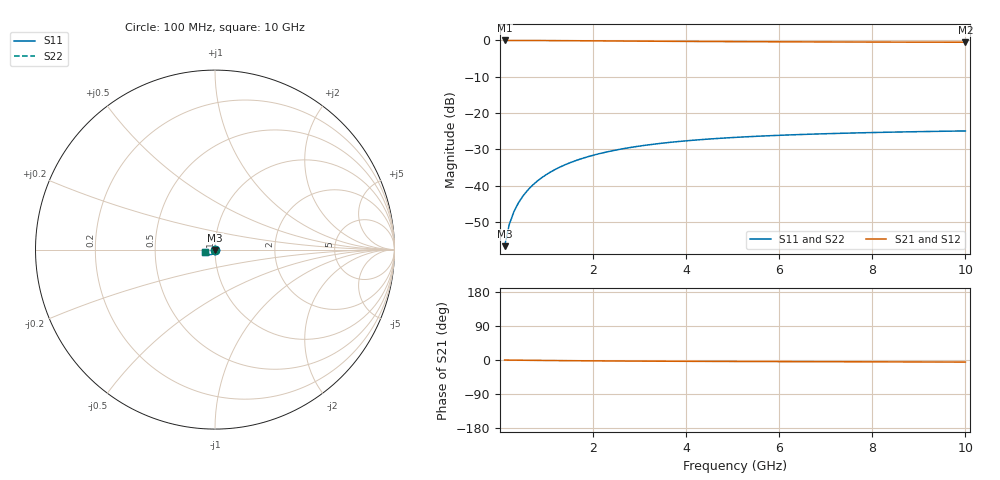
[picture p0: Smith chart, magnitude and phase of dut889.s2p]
! Touchstone file exported from HFSS 2024.1.0
!  File:  C:/UserFiles/LocalFiles/RDL_TSV_Batchsim/temp_TSV1_889_1779884748.aedt
!  Generated:  08:31:20 PM May 27, 2026
!  Design:  TSV1
!  Project:  temp_TSV1_889_1779884748
!  Setup:  Setup1
!  Solution:  Sweep
! Variables:
!  dtsv = 10.59um
!  hbump = 3um
!  htsv = 86.41um
!  lrdl = 252.1521522um
!  p = 40
!  p1 = 41.63um
!  t = 500um
!  trdl = 3um
!  wrdl = 24.89489489um
# GHz S MA R 50.000000
! Terminal data exported
! Port[1] = TSV22_T1
! Port[2] = TSV22_T2
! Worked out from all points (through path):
!   100 points, 100 MHz to 10 GHz, reference 50 ohm
!   highest |S21| = 0.00 dB at 100 MHz (marker M1); lowest = -0.5 dB at 10 GHz (marker M2)
!   lowest |S11| = -56.7 dB at 100 MHz (marker M3), VSWR 1.00, Z = 50 - j0.145 ohm
!   |S11| at or under -10 dB: start of sweep to end of sweep
!   |S22| runs from -56.7 to -25.0 dB; largest |S21 - S12| = 4.5e-15
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0.1  0.001457 -86.0  0.9998 -0.1  0.9998 -0.1  0.001457 -86.0
! Gamma 0 0 0 0
! Port Impedance 50 0 50 0
0.2  0.002906 -90.1  0.9997 -0.3  0.9997 -0.3  0.002906 -90.1
0.3  0.004357 -92.4  0.9995 -0.4  0.9995 -0.4  0.004357 -92.4
0.4  0.005804 -94.3  0.9992 -0.5  0.9992 -0.5  0.005804 -94.3
0.5  0.007244 -96.1  0.9988 -0.6  0.9988 -0.6  0.007244 -96.1
0.6  0.008671 -97.7  0.9984 -0.8  0.9984 -0.8  0.008671 -97.7
0.7  0.01008 -99.4  0.9979 -0.9  0.9979 -0.9  0.01008 -99.4
0.8  0.01148 -100.9  0.9974 -1.0  0.9974 -1.0  0.01148 -100.9
0.9  0.01285 -102.5  0.9968 -1.1  0.9968 -1.1  0.01285 -102.5
1.1  0.01552 -105.4  0.9954 -1.4  0.9954 -1.4  0.01552 -105.4
1.4  0.01932 -109.7  0.9931 -1.7  0.9931 -1.7  0.01932 -109.7
1.6  0.0217 -112.4  0.9914 -1.9  0.9914 -1.9  0.0217 -112.4
1.8  0.02397 -115.0  0.9896 -2.1  0.9896 -2.1  0.02397 -115.0
2.1  0.02712 -118.6  0.9868 -2.3  0.9868 -2.3  0.02712 -118.6
2.5  0.03089 -123.1  0.9829 -2.6  0.9829 -2.6  0.03089 -123.1
2.9  0.0342 -127.2  0.9792 -2.9  0.9792 -2.9  0.0342 -127.2
3.4  0.03775 -131.8  0.9748 -3.2  0.9748 -3.2  0.03775 -131.8
4.2  0.04232 -138.1  0.9685 -3.5  0.9685 -3.5  0.04232 -138.1
5.1  0.04623 -143.9  0.9627 -3.9  0.9627 -3.9  0.04623 -143.9
6.7  0.05105 -152.0  0.9548 -4.4  0.9548 -4.4  0.05105 -152.0
8.4  0.05438 -158.6  0.9491 -5.0  0.9491 -5.0  0.05438 -158.6
10  0.05654 -163.5  0.9452 -5.5  0.9452 -5.5  0.05654 -163.5
